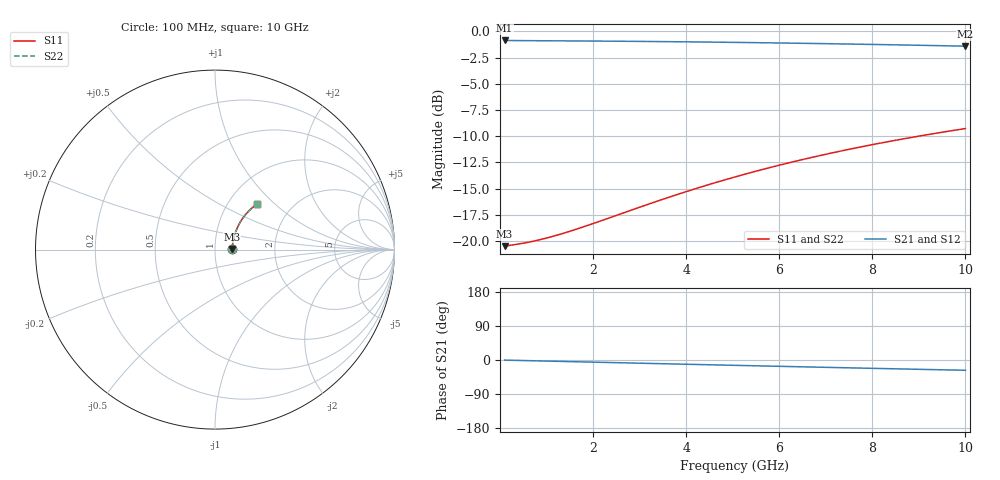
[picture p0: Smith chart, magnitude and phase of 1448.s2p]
# Hz S RI R 50.00
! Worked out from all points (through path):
!   100 points, 100 MHz to 10 GHz, reference 50 ohm
!   highest |S21| = -0.86 dB at 100 MHz (marker M1); lowest = -1.4 dB at 10 GHz (marker M2)
!   group delay of S21, straight-line fit = 7.55 ps
!   lowest |S11| = -20.5 dB at 100 MHz (marker M3), VSWR 1.21, Z = 60.4 + j0.382 ohm
!   |S11| at or under -10 dB: start of sweep to 8.994 GHz
!   |S22| runs from -20.5 to -9.3 dB; largest |S21 - S12| = 0
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1e8  0.0944 0.00313  0.9056 -0.00448  0.9056 -0.00448  0.0944 0.00313
5e8  0.0963 0.0156  0.9037 -0.0223  0.9037 -0.0223  0.0963 0.0156
7e8  0.0971 0.0218  0.9028 -0.0312  0.9028 -0.0312  0.0971 0.0218
9e8  0.098 0.028  0.9019 -0.04  0.9019 -0.04  0.098 0.028
1.1e9  0.0989 0.0341  0.9009 -0.0489  0.9009 -0.0489  0.0989 0.0341
1.3e9  0.1 0.0402  0.8999 -0.0577  0.8999 -0.0577  0.1 0.0402
1.5e9  0.1011 0.0463  0.8987 -0.0665  0.8987 -0.0665  0.1011 0.0463
1.8e9  0.1029 0.0554  0.8968 -0.0796  0.8968 -0.0796  0.1029 0.0554
2.6e9  0.1089 0.0794  0.8904 -0.1143  0.8904 -0.1143  0.1089 0.0794
3.4e9  0.1166 0.1026  0.8822 -0.1484  0.8822 -0.1484  0.1166 0.1026
3.9e9  0.1223 0.1168  0.8762 -0.1693  0.8762 -0.1693  0.1223 0.1168
4.3e9  0.1273 0.1278  0.8709 -0.1857  0.8709 -0.1857  0.1273 0.1278
4.7e9  0.1326 0.1386  0.8652 -0.2019  0.8652 -0.2019  0.1326 0.1386
5.1e9  0.1384 0.1492  0.8591 -0.2179  0.8591 -0.2179  0.1384 0.1492
5.5e9  0.1445 0.1595  0.8526 -0.2336  0.8526 -0.2336  0.1445 0.1595
5.9e9  0.151 0.1695  0.8457 -0.2489  0.8457 -0.2489  0.151 0.1695
6.3e9  0.1578 0.1791  0.8384 -0.264  0.8384 -0.264  0.1578 0.1791
6.7e9  0.1649 0.1885  0.8308 -0.2788  0.8308 -0.2788  0.1649 0.1885
7.5e9  0.18 0.2062  0.8146 -0.3074  0.8146 -0.3074  0.18 0.2062
8.4e9  0.1982 0.2245  0.795 -0.3379  0.795 -0.3379  0.1982 0.2245
9.2e9  0.2154 0.2392  0.7764 -0.3636  0.7764 -0.3636  0.2154 0.2392
1e10  0.2334 0.2525  0.757 -0.3878  0.757 -0.3878  0.2334 0.2525
